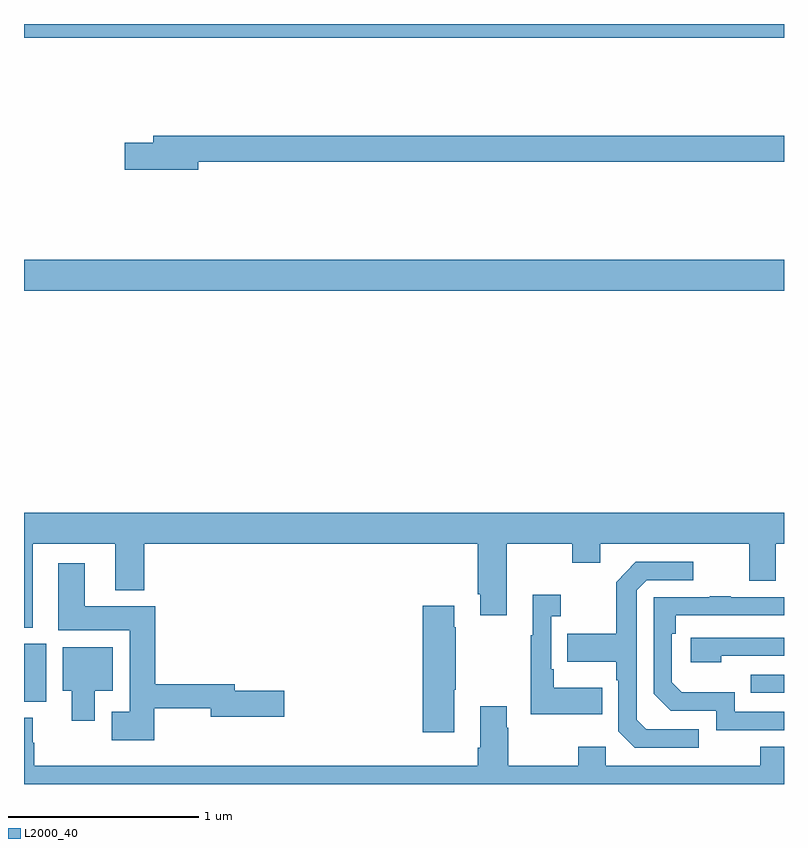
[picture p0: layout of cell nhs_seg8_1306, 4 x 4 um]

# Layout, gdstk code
import gdstk
lib = gdstk.Library(unit=1e-6, precision=1e-09)
def R(c, l, rs):  # rectangles x0, y0, x1, y1
    for r in rs: c.add(gdstk.rectangle(r[:2], r[2:], *l))
def P(c, l, *ps):  # polygons
    for p in ps: c.add(gdstk.Polygon(p, *l))
L2000_40 = (2000, 40)

nhs_seg8_1306 = lib.new_cell('nhs_seg8_1306')
R(nhs_seg8_1306, L2000_40, [(193,1118.333,193.117,1118.638), (196.825,1118.379,197,1118.475), (193,1120.496,197,1120.66), (193,1121.828,197,1121.9)])
P(nhs_seg8_1306, L2000_40, [(193.918,1121.176),(197,1121.176),(197,1121.312),(193.679,1121.312),(193.679,1121.276),(193.53,1121.276),(193.53,1121.134),(193.918,1121.134)],
  [(193.045,1119.164),(193.481,1119.164),(193.481,1118.921),(193.634,1118.921),(193.634,1119.164),(195.389,1119.164),(195.389,1118.899),(195.401,1118.899),(195.401,1118.787),(195.541,1118.787),(195.541,1119.164),(195.886,1119.164),(195.886,1119.065),(196.033,1119.065),(196.033,1119.164),(196.817,1119.164),(196.817,1118.97),(196.957,1118.97),(196.957,1119.164),(197,1119.164),(197,1119.328),(193,1119.328),(193,1118.723),(193.045,1118.723)],
  [(196.552,1118.187),(196.275,1118.187),(196.224,1118.238),(196.224,1118.919),(196.278,1118.973),(196.522,1118.973),(196.522,1119.069),(196.221,1119.069),(196.116,1118.963),(196.116,1118.691),(195.859,1118.691),(195.859,1118.543),(196.116,1118.543),(196.116,1118.447),(196.128,1118.447),(196.128,1118.178),(196.215,1118.091),(196.552,1118.091)],
  [(193.686,1118.298),(193.982,1118.298),(193.982,1118.255),(194.371,1118.255),(194.371,1118.39),(194.11,1118.39),(194.11,1118.426),(193.691,1118.426),(193.691,1118.836),(193.321,1118.836),(193.321,1119.061),(193.181,1119.061),(193.181,1118.708),(193.556,1118.708),(193.556,1118.281),(193.461,1118.281),(193.461,1118.129),(193.686,1118.129)],
  [(196.043,1118.407),(195.787,1118.407),(195.787,1118.503),(195.774,1118.503),(195.774,1118.783),(195.826,1118.783),(195.826,1118.896),(195.677,1118.896),(195.677,1118.683),(195.666,1118.683),(195.666,1118.267),(196.043,1118.267)],
  [(197,1118.28),(196.74,1118.28),(196.74,1118.383),(196.463,1118.383),(196.41,1118.436),(196.41,1118.69),(196.43,1118.69),(196.43,1118.787),(197,1118.787),(197,1118.883),(196.721,1118.883),(196.721,1118.888),(196.609,1118.888),(196.609,1118.883),(196.314,1118.883),(196.314,1118.376),(196.404,1118.286),(196.644,1118.286),(196.644,1118.184),(197,1118.184)],
  [(195.265,1118.395),(195.273,1118.395),(195.273,1118.726),(195.265,1118.726),(195.265,1118.839),(195.098,1118.839),(195.098,1118.172),(195.265,1118.172)],
  [(196.67,1118.574),(197,1118.574),(197,1118.67),(196.509,1118.67),(196.509,1118.54),(196.67,1118.54)],
  [(193.372,1118.39),(193.468,1118.39),(193.468,1118.62),(193.205,1118.62),(193.205,1118.39),(193.25,1118.39),(193.25,1118.232),(193.372,1118.232)],
  [(197,1118.095),(196.876,1118.095),(196.876,1117.996),(196.062,1117.996),(196.062,1118.095),(195.916,1118.095),(195.916,1117.996),(195.549,1117.996),(195.549,1118.195),(195.541,1118.195),(195.541,1118.308),(195.401,1118.308),(195.401,1118.092),(195.389,1118.092),(195.389,1117.996),(193.053,1117.996),(193.053,1118.117),(193.045,1118.117),(193.045,1118.248),(193,1118.248),(193,1117.9),(197,1117.9)])

lib.write_gds('nhs_seg8_1306.gds')
